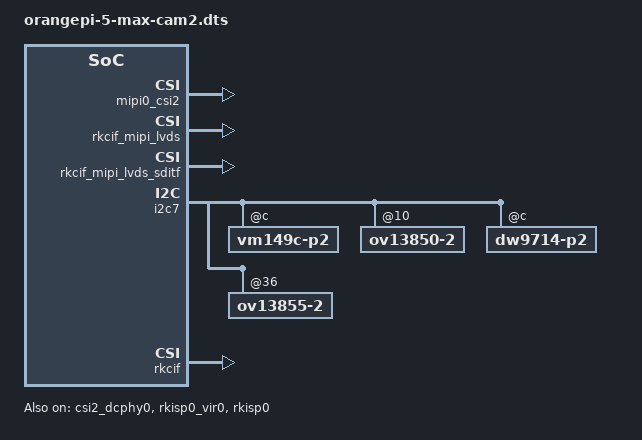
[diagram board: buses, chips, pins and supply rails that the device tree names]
/dts-v1/;
/plugin/;

/ {
	fragment@0 {
		target = <&csi2_dcphy0>;

		__overlay__ {
			status = "okay";
		};
	};

	fragment@1 {
		target = <&mipi0_csi2>;

		__overlay__ {
			status = "okay";
		};
	};

	fragment@2 {
		target = <&rkcif_mipi_lvds>;

		__overlay__ {
			status = "okay";
		};
	};

	fragment@3 {
		target = <&rkcif_mipi_lvds_sditf>;

		__overlay__ {
			status = "okay";
		};
	};

	fragment@4 {
		target = <&rkisp0_vir0>;

		__overlay__ {
			status = "okay";
		};
	};

	fragment@6 {
		target = <&i2c7>;

		__overlay__ {
			status = "okay";

			vm149c-p2@c {
				status = "okay";
			};

			ov13850-2@10 {
				status = "okay";
			};

			dw9714-p2@c {
				status = "okay";
			};

			ov13855-2@36 {
				status = "okay";
			};
		};
	};

	fragment@7 {
		target = <&rkcif>;

		__overlay__ {
		        status = "okay";
		};
	};

	fragment@8 {
		target = <&rkcif_mmu>;

		__overlay__ {
			status = "okay";
		};
	};

	fragment@9 {
		target = <&rkisp0>;

		__overlay__ {
			status = "okay";
		};
	};

	fragment@10 {
		target = <&isp0_mmu>;

		__overlay__ {
			status = "okay";
		};
	};
};
